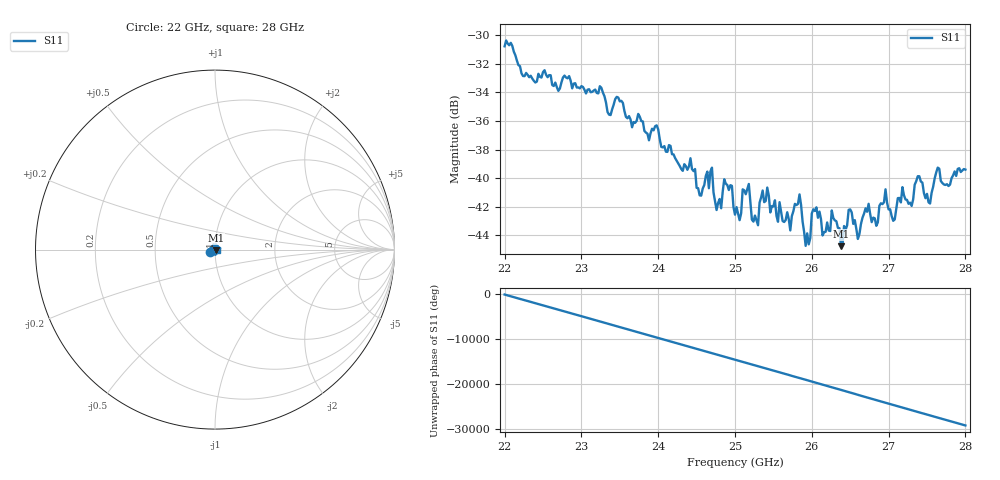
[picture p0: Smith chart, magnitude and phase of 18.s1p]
#  HZ  S  RI  R  50.00
! Rohde & Schwarz ZVA40 4Ports - Version 3.90 - 1145.1110k42 SN: 100403
! Date: 2023-10-04 10:26:46
! Measurement: S12
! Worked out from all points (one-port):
!   301 points, 22 GHz to 28 GHz, reference 50 ohm
!   lowest |S11| = -44.8 dB at 26.38 GHz (marker M1), VSWR 1.01, Z = 50.4 - j0.441 ohm
!   |S11| at or under -10 dB: start of sweep to end of sweep
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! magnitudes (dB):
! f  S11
! 22 GHz  -30.8
! 22.76 GHz  -33.0
! 23.5 GHz  -34.6
! 24.26 GHz  -39.0
! 24.42 GHz  -38.6
! 24.56 GHz  -41.2
! 24.7 GHz  -39.3
! 24.76 GHz  -42.2
! 24.86 GHz  -40.1
! 25 GHz  -42.6
! 25.18 GHz  -40.4
! 25.3 GHz  -43.3
! 25.42 GHz  -40.7
! 25.56 GHz  -43.1
! 25.76 GHz  -42.3
! 25.84 GHz  -41.1
! 25.92 GHz  -44.8
! 26.02 GHz  -42.2
! 26.14 GHz  -44.0
! 26.26 GHz  -42.3
! 26.38 GHz  -44.8
! 26.5 GHz  -42.2
! 26.6 GHz  -44.3
! 26.96 GHz  -40.8
! 27.06 GHz  -43.0
! 27.18 GHz  -40.6
! 27.26 GHz  -41.8
! 28 GHz  -39.4
